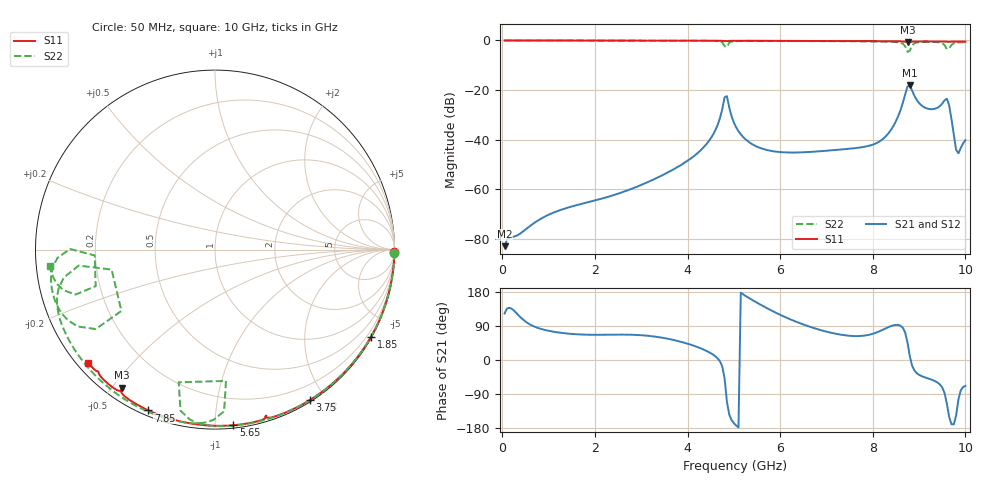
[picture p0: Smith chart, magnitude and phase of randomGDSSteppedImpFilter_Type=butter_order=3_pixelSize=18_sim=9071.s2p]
! freq	dB(S11)	phase(S11)	dB(S12)	phase(S12)
!  dB(S21)	phase(S21)	dB(S22)	phase(S22)
!S-par simulation data
#  GHz  S  DB  R 50
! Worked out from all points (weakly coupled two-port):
!   200 points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, 50 MHz to 10 GHz, reference 50 ohm
!   highest |S21| = -18.15 dB at 8.8 GHz (marker M1); lowest = -83.0 dB at 50 MHz (marker M2)
!   lowest |S11| = -0.6 dB at 8.75 GHz (marker M3), VSWR 26.94, Z = 2.38 - j26.6 ohm
!   |S11| at or under -10 dB: nowhere
!   |S22| runs from -4.6 to 0.0 dB; largest |S21 - S12| = 0
!   S11 on the Smith chart (normalised r, x): 50 MHz: open; 1.85 GHz: 0.03, -3.84; 3.75 GHz: 0.02, -1.81; 5.65 GHz: 0.02, -1.11; 7.85 GHz: 0.02, -0.67; 10 GHz: 0.03, -0.38
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0.05  -0.00 -0.8  -83.02 122.6  -83.02 122.6  -0.00 -1.1
1.75  -0.04 -27.6  -65.75 67.0  -65.75 67.0  -0.05 -36.5
1.85  -0.04 -29.2  -65.28 66.7  -65.28 66.7  -0.05 -38.6
3.4  -0.07 -52.6  -54.88 59.9  -54.88 59.9  -0.09 -69.2
3.75  -0.08 -57.7  -51.43 51.4  -51.43 51.4  -0.10 -75.9
4.5  -0.10 -68.5  -39.55 18.1  -39.55 18.1  -0.16 -91.3
4.7  -0.12 -71.6  -31.38 -3.6  -31.38 -3.6  -0.38 -98.4
4.8  -0.25 -73.2  -22.95 -48.4  -22.95 -48.4  -2.31 -105.3
4.85  -0.28 -72.8  -22.48 -109.4  -22.48 -109.4  -2.68 -85.2
5.05  -0.13 -75.7  -35.06 -172.9  -35.06 -172.9  -0.26 -94.8
5.65  -0.14 -84.1  -43.87 141.0  -43.87 141.0  -0.19 -107.8
6.7  -0.19 -97.9  -44.92 85.3  -44.92 85.3  -0.25 -126.1
7.85  -0.27 -112.5  -42.79 65.0  -42.79 65.0  -0.36 -146.2
8.35  -0.32 -118.8  -37.21 87.4  -37.21 87.4  -0.49 -156.8
8.65  -0.42 -123.1  -25.15 84.7  -25.15 84.7  -1.34 -169.5
8.75  -0.65 -124.0  -18.57 46.1  -18.57 46.1  -4.63 -169.1
8.8  -0.63 -123.2  -18.15 9.8  -18.15 9.8  -4.11 -146.8
9.15  -0.39 -127.9  -27.32 -46.9  -27.32 -46.9  -0.58 -162.8
9.45  -0.43 -131.9  -26.47 -64.6  -26.47 -64.6  -0.84 -174.0
9.6  -0.54 -133.6  -23.52 -115.2  -23.52 -115.2  -3.47 -177.2
9.8  -0.47 -135.6  -44.16 -146.4  -44.16 -146.4  -0.92 -167.6
10  -0.48 -138.2  -40.23 -68.2  -40.23 -68.2  -0.68 -174.3
